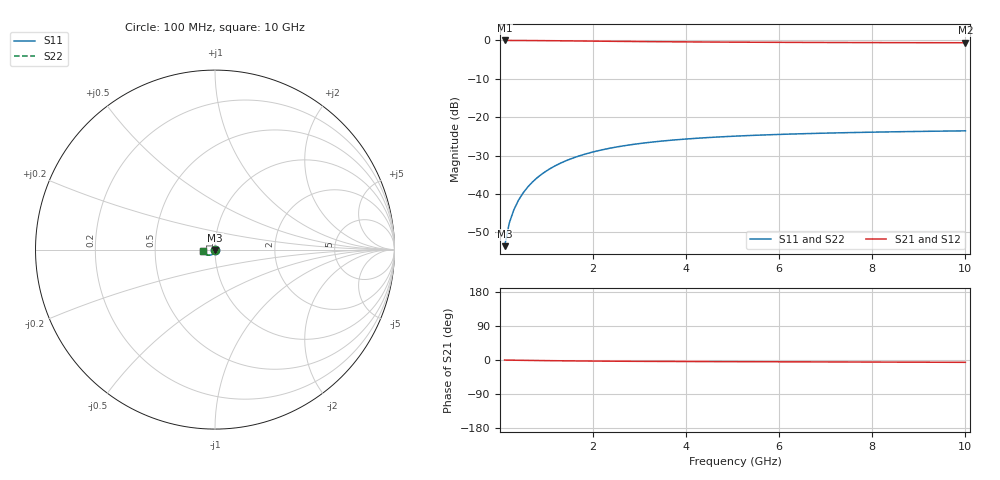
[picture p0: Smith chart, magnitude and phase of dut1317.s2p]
! Touchstone file exported from HFSS 2024.1.0
!  File:  C:/UserFiles/LocalFiles/RDL_TSV_Batchsim/temp_TSV1_1317_1780374122.aedt
!  Generated:  12:29:20 PM Jun  2, 2026
!  Design:  TSV1
!  Project:  temp_TSV1_1317_1780374122
!  Setup:  Setup1
!  Solution:  Sweep
! Variables:
!  dtsv = 14.17um
!  hbump = 3um
!  htsv = 95.55um
!  lrdl = 252.1521522um
!  p = 40
!  p1 = 57.08um
!  t = 500um
!  trdl = 3um
!  wrdl = 24.89489489um
# GHz S MA R 50.000000
! Terminal data exported
! Port[1] = TSV22_T1
! Port[2] = TSV22_T2
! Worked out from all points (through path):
!   100 points, 100 MHz to 10 GHz, reference 50 ohm
!   highest |S21| = 0.00 dB at 100 MHz (marker M1); lowest = -0.6 dB at 10 GHz (marker M2)
!   lowest |S11| = -53.6 dB at 100 MHz (marker M3), VSWR 1.00, Z = 50 - j0.209 ohm
!   |S11| at or under -10 dB: start of sweep to end of sweep
!   |S22| runs from -53.6 to -23.6 dB; largest |S21 - S12| = 9e-15
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0.1  0.002088 -89.4  0.9998 -0.2  0.9998 -0.2  0.002088 -89.4
! Gamma 0 0 0 0
! Port Impedance 50 0 50 0
0.2  0.004174 -92.5  0.9996 -0.4  0.9996 -0.4  0.004174 -92.5
0.3  0.006254 -94.8  0.9992 -0.5  0.9992 -0.5  0.006254 -94.8
0.4  0.00832 -96.9  0.9987 -0.7  0.9987 -0.7  0.00832 -96.9
0.5  0.01036 -98.9  0.9981 -0.9  0.9981 -0.9  0.01036 -98.9
0.6  0.01237 -100.9  0.9974 -1.0  0.9974 -1.0  0.01237 -100.9
0.7  0.01435 -102.9  0.9965 -1.2  0.9965 -1.2  0.01435 -102.9
0.8  0.01628 -104.8  0.9956 -1.3  0.9956 -1.3  0.01628 -104.8
0.9  0.01816 -106.6  0.9946 -1.5  0.9946 -1.5  0.01816 -106.6
1.1  0.02178 -110.2  0.9923 -1.8  0.9923 -1.8  0.02178 -110.2
1.4  0.02678 -115.3  0.9885 -2.2  0.9885 -2.2  0.02678 -115.3
1.6  0.02983 -118.5  0.9858 -2.4  0.9858 -2.4  0.02983 -118.5
1.8  0.03265 -121.5  0.9831 -2.6  0.9831 -2.6  0.03265 -121.5
2.1  0.03647 -125.7  0.979 -2.9  0.979 -2.9  0.03647 -125.7
2.5  0.04085 -130.7  0.9737 -3.2  0.9737 -3.2  0.04085 -130.7
2.9  0.04454 -135.2  0.9688 -3.5  0.9688 -3.5  0.04454 -135.2
3.4  0.04833 -140.1  0.9634 -3.7  0.9634 -3.7  0.04833 -140.1
4.2  0.053 -146.6  0.9562 -4.1  0.9562 -4.1  0.053 -146.6
5.1  0.05682 -152.6  0.95 -4.4  0.95 -4.4  0.05682 -152.6
6.7  0.06137 -160.8  0.9422 -5.0  0.9422 -5.0  0.06137 -160.8
8.4  0.06444 -167.6  0.9368 -5.6  0.9368 -5.6  0.06444 -167.6
10  0.06643 -172.8  0.9334 -6.1  0.9334 -6.1  0.06643 -172.8
